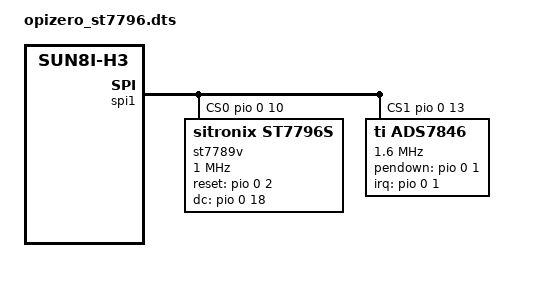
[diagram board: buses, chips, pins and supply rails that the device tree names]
/dts-v1/;
/plugin/;

/ {
    compatible = "allwinner,sun8i-h3";

	fragment@0 {
		target = <&spi1>;
		__overlay__ {
			num-cs = <2>;
			/* CS0 PA10  CS1 PA13 */
            cs-gpios = <&pio 0 10 0>,
					   <&pio 0 13 0>;
			status = "okay";
			#address-cells = <1>;
			#size-cells = <0>;

			st7789v: st7789v@0{
				compatible = "sitronix,st7796s";
				/* CS 0 */
                reg = <0>;
				spi-max-frequency = <1000000>;
				rotation = <180>;
				fps = <30>;
				buswidth = <8>;
				reset-gpios = <&pio 0 2 0>; /* PA2 */
				dc-gpios = <&pio 0 18 0>;  /* PA18 */
				debug = <1>;
			};

			ads7846: ads7846@0 {
				compatible = "ti,ads7846";
				/* CS1 */
                reg = <1>; 
				status = "okay";
				spi-max-frequency = <1600000>;
				interrupt-parent = <&pio>;
                interrupts = <0 1 2>; /* PA1 IRQ_TYPE_EDGE_FALLING */
                pendown-gpio = <&pio 0 1 0>; /* PA1 */

				/* driver defaults, optional */
				ti,x-min = /bits/ 16 <0>;
				ti,y-min = /bits/ 16 <0>;
				ti,x-max = /bits/ 16 <0x0FFF>;
				ti,y-max = /bits/ 16 <0x0FFF>;
				ti,pressure-min = /bits/ 16 <0>;
				ti,pressure-max = /bits/ 16 <0xFFFF>;
				ti,x-plate-ohms = /bits/ 16 <400>;
		};

		};
	};


};
